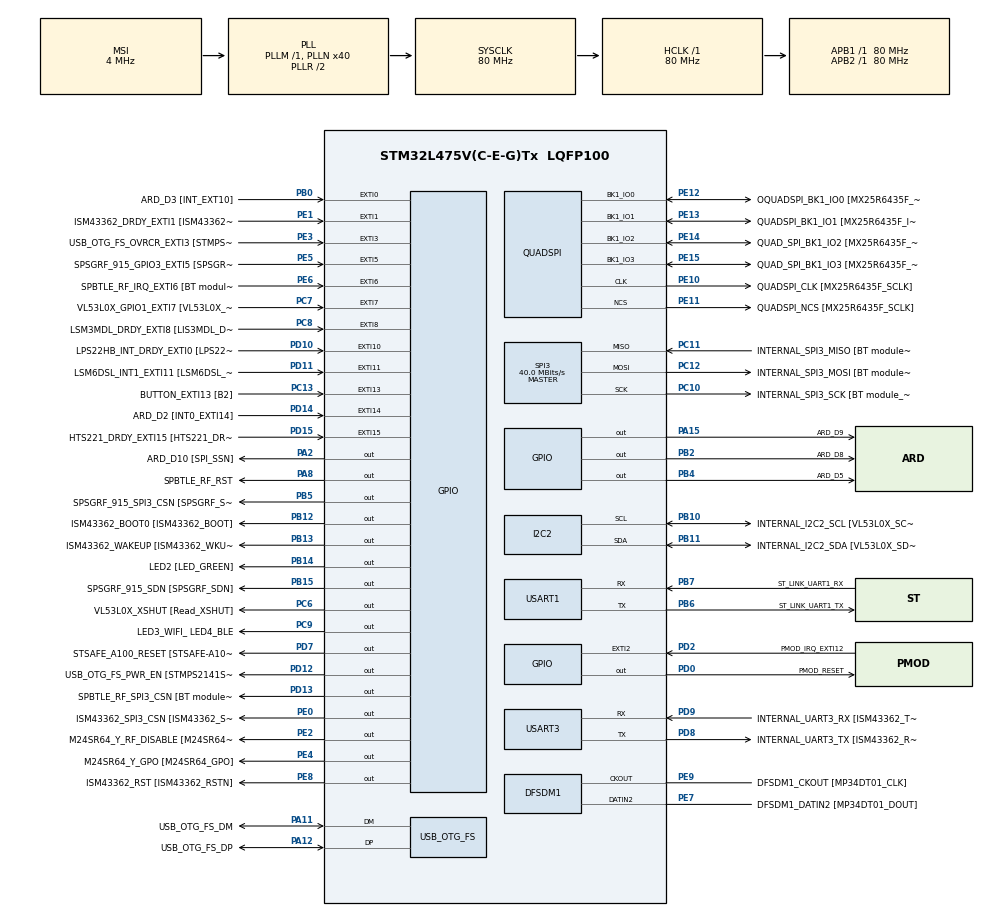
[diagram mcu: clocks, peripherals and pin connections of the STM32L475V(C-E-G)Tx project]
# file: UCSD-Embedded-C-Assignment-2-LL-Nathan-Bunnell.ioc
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PD12.GPIO_Label=USB_OTG_FS_PWR_EN [STMPS2141STR_EN]
SPI3.Direction=SPI_DIRECTION_2LINES
SPI3.VirtualType=VM_MASTER
QUADSPI.ClockPrescaler=2
PB10.Mode=I2C
PC12.Signal=SPI3_MOSI
PB14.GPIO_Label=LED2 [LED_GREEN]
PC6.GPIO_Label=VL53L0X_XSHUT [Read_XSHUT]
PA6.GPIO_Label=ARD_D12 [SPI1_MISO]
PB6.GPIO_Label=ST_LINK_UART1_TX
PA15\ (JTDI).Signal=GPIO_Output
PC15-OSC32_OUT\ (PC15).Mode=LSE-External-Oscillator
PB13.Signal=GPIO_Output
PD6.GPIO_Label=PMOD_UART2_RX
PE6.GPIO_Label=SPBTLE_RF_IRQ_EXTI6 [BT module_SPI_IRQ]
RCC.SYSCLKSource=RCC_SYSCLKSOURCE_PLLCLK
PC14-OSC32_IN\ (PC14).Mode=LSE-External-Oscillator
SH.ADCx_IN16.0=ADC1_IN16
USART3.VirtualMode-Asynchronous=VM_ASYNC
PA14\ (JTCK-SWCLK).Signal=SYS_JTCK-SWCLK
PD4.Signal=USART2_RTS
RCC.APB2TimFreq_Value=80000000
PB6.Signal=USART1_TX
PC7.Signal=GPXTI7
PB6.Mode=Asynchronous
PC3.Signal=ADCx_IN4
PD0.Signal=GPIO_Output
PD8.Signal=USART3_TX
PE5.Signal=GPXTI5
PE1.Signal=GPXTI1
QUADSPI.FlashSize=23
NVIC.EXTI15_10_IRQn=true\:0\:0\:false\:false\:true\:true\:true
PB2.Signal=GPIO_Output
PD1.GPIO_Label=PMOD_SPI2_SCK
PB12.GPIO_Label=ISM43362_BOOT0 [ISM43362_BOOT]
PC4.GPIO_Label=ARD_A1 [ADC]
PE9.Signal=S_CKOUTDFSDM1
PB1.GPIO_Label=ARD_D6 [ADC1_IN6]
PE4.GPIO_Label=M24SR64_Y_GPO [M24SR64_GPO]
PE2.Signal=GPIO_Output
PA8.Signal=GPIO_Output
PE13.Mode=Single Bank
PE10.Signal=QUADSPI_CLK
PA0.Signal=UART4_TX
Mcu.Package=LQFP100
PB9.Signal=I2C1_SDA
PB1.Signal=ADCx_IN16
SPI3.Mode=SPI_MODE_MASTER
SH.ADCx_IN14.0=ADC1_IN14
PD12.Signal=GPIO_Output
PA10.Signal=USB_OTG_FS_ID
PE12.GPIO_Label=OQUADSPI_BK1_IO0 [MX25R6435F_IO0]
PC11.Mode=Full_Duplex_Master
SH.ADCx_IN9.0=ADC1_IN9
RCC.APB1TimFreq_Value=80000000
PA13\ (JTMS-SWDIO).Signal=SYS_JTMS-SWDIO
PE10.GPIO_Label=QUADSPI_CLK [MX25R6435F_SCLK]
PA4.GPIO_Label=ARD_D7
PD15.Signal=GPXTI15
PE12.Mode=Single Bank
PD9.GPIO_Label=INTERNAL_UART3_RX [ISM43362_TX]
PA9.GPIO_Label=USB_OTG_FS_VBUS [STMPS2141STR_OUT]
PC13.Signal=GPXTI13
PD3.Signal=USART2_CTS
PC6.Signal=GPIO_Output
PE10.Mode=Single Bank
PC2.Signal=ADCx_IN3
PB11.GPIO_Label=INTERNAL_I2C2_SDA [VL53L0X_SDA]
PD7.Signal=GPIO_Output
PD1.Signal=SPI2_SCK
PA11.GPIO_Label=USB_OTG_FS_DM
PC0.Signal=ADCx_IN1
PD10.Signal=GPXTI10
PB8.GPIO_Label=ARD_D15 [I2C1_SCL]
PA8.GPIO_Label=SPBTLE_RF_RST
PB11.Mode=I2C
PE8.GPIO_Label=ISM43362_RST [ISM43362_RSTN]
PA9.Signal=USB_OTG_FS_VBUS
PE9.GPIO_Label=DFSDM1_CKOUT [MP34DT01_CLK]
PD8.Mode=Asynchronous
PB10.Signal=I2C2_SCL
PB14.Signal=GPIO_Output
PA5.Signal=SPI1_SCK
PC12.Mode=Full_Duplex_Master
PE1.GPIO_Label=ISM43362_DRDY_EXTI1 [ISM43362_DATARDY]
PE14.Signal=QUADSPI_BK1_IO2
PE15.Signal=QUADSPI_BK1_IO3
PB15.GPIO_Label=SPSGRF_915_SDN [SPSGRF_SDN]
PE8.Signal=GPIO_Output
PA1.GPIO_Label=ARD_D0 [UART4_RX]
SH.ADCx_IN4.0=ADC1_IN4
QUADSPI.FifoThreshold=4
PC7.GPIO_Label=VL53L0X_GPIO1_EXTI7 [VL53L0X_GPIO1]
PA13\ (JTMS-SWDIO).Mode=Serial_Wire
PA4.Signal=ADCx_IN9
PB5.Signal=GPIO_Output
PE13.GPIO_Label=QUADSPI_BK1_IO1 [MX25R6435F_IO1]
PA5.GPIO_Label=ARD_D13 [SPI1_SCK]
PD11.Signal=GPXTI11
PE5.GPIO_Label=SPSGRF_915_GPIO3_EXTI5 [SPSGRF_GPIO_3]
PC12.GPIO_Label=INTERNAL_SPI3_MOSI [BT module_SPI_MOSI] [ISM43362_MOSI]
PA11.Signal=USB_OTG_FS_DM
ProjectManager.HeapSize=0x200
NVIC.PriorityGroup=NVIC_PRIORITYGROUP_4
PE3.Signal=GPXTI3
PC3.GPIO_Label=ARD_A2 [ADC]
PB4\ (NJTRST).GPIO_Label=ARD_D5
PD2.Signal=GPXTI2
PB0.Signal=GPXTI0
PC1.Signal=ADCx_IN2
PD2.GPIO_Label=PMOD_IRQ_EXTI12
PE15.Mode=Single Bank
Mcu.Family=STM32L4
RCC.CortexFreq_Value=80000000
PE11.GPIO_Label=QUADSPI_NCS [MX25R6435F_SCLK]
SH.ADCx_IN2.0=ADC1_IN2
PC10.Signal=SPI3_SCK
I2C2.Timing=0x10909CEC
PA0.GPIO_Label=ARD_D1 [UART4_TX]
PC0.GPIO_Label=ARD_A5 [ADC]
PD0.GPIO_Label=PMOD_RESET
PA11.Mode=Device_Only
PB0.GPIO_Label=ARD_D3 [INT_EXT10]
PC13.GPIO_Label=BUTTON_EXTI13 [B2]
PB13.GPIO_Label=ISM43362_WAKEUP [ISM43362_WKUP]
PB11.Signal=I2C2_SDA
PB15.Signal=GPIO_Output
PD9.Mode=Asynchronous
ProjectManager.StackSize=0x400
PB3\ (JTDO-TRACESWO).Signal=SYS_JTDO-SWO
PD13.Signal=GPIO_Output
PA12.Signal=USB_OTG_FS_DP
PE11.Mode=Single Bank
PD11.GPIO_Label=LSM6DSL_INT1_EXTI11 [LSM6DSL_INT1]
RCC.HCLKFreq_Value=80000000
SH.ADCx_IN3.0=ADC1_IN3
PB5.PinState=GPIO_PIN_SET
RCC.AHBFreq_Value=80000000
RCC.HSE_VALUE=8000000
PE13.Signal=QUADSPI_BK1_IO1
PC11.GPIO_Label=INTERNAL_SPI3_MISO [BT module_SPI_MISO] [ISM43362_MISO]
PA10.GPIO_Label=USB_OTG_FS_ID
PB7.Signal=USART1_RX
PE4.Signal=GPIO_Output
QUADSPI.SampleShifting=QSPI_SAMPLE_SHIFTING_HALFCYCLE
PD7.GPIO_Label=STSAFE_A100_RESET [STSAFE-A100_RESET]
PB7.GPIO_Label=ST_LINK_UART1_RX
PD13.GPIO_Label=SPBTLE_RF_SPI3_CSN [BT module_SPI_CS]
PA6.Signal=SPI1_MISO
PD5.GPIO_Label=PMOD_UART2_TX
PA2.GPIO_Label=ARD_D10 [SPI_SSN]
USB_OTG_FS.VirtualMode=Device_Only
PE0.GPIO_Label=ISM43362_SPI3_CSN [ISM43362_SSN]
SH.ADCx_IN1.0=ADC1_IN1
PB5.GPIO_Label=SPSGRF_915_SPI3_CSN [SPSGRF_SPI_CS]
PC5.Signal=ADCx_IN14
PD3.GPIO_Label=PMOD_UART2_CTS
PE7.Signal=S_DATAIN2DFSDM1
PD6.Signal=USART2_RX
PE2.GPIO_Label=M24SR64_Y_RF_DISABLE [M24SR64_RFDIS]
PC2.GPIO_Label=ARD_A3 [ADC]
RCC.PLLSAI1N=24
PA3.Signal=S_TIM2_CH4
RCC.MSI_VALUE=4000000
PA14\ (JTCK-SWCLK).Mode=Serial_Wire
SH.ADCx_IN13.0=ADC1_IN13
PD15.GPIO_Label=HTS221_DRDY_EXTI15 [HTS221_DRDY]
PB9.GPIO_Label=ARD_D14 [I2C1_SDA]
PC10.GPIO_Label=INTERNAL_SPI3_SCK [BT module_SPI_SCLK] [ISM43362_SCK]
PC9.GPIO_Label=LED3_WIFI_ LED4_BLE
PC11.Signal=SPI3_MISO
PC8.Signal=GPXTI8
PC4.Signal=ADCx_IN13
PC10.Mode=Full_Duplex_Master
SH.S_DATAIN2DFSDM1.0=DFSDM1_DATIN2,PDM_SPI_Input_from_ch12_and_Internal_Clock
PE14.GPIO_Label=QUAD_SPI_BK1_IO2 [MX25R6435F_IO2]
PC15-OSC32_OUT\ (PC15).Signal=RCC_OSC32_OUT
PD9.Signal=USART3_RX
PD5.Signal=USART2_TX
PA14\ (JTCK-SWCLK).GPIO_Label=SYS_JTCK_SWCLK
PB3\ (JTDO-TRACESWO).GPIO_Label=SYS_JTD0_SWO
PA12.GPIO_Label=USB_OTG_FS_DP
PD8.GPIO_Label=INTERNAL_UART3_TX [ISM43362_RX]
PC8.GPIO_Label=LSM3MDL_DRDY_EXTI8 [LIS3MDL_DRDY]
USART1.VirtualMode-Asynchronous=VM_ASYNC
PE0.PinState=GPIO_PIN_SET
PE15.GPIO_Label=QUAD_SPI_BK1_IO3 [MX25R6435F_IO3]
ProjectManager.TargetToolchain=STM32CubeIDE
PB10.GPIO_Label=INTERNAL_I2C2_SCL [VL53L0X_SCL]
RCC.USBFreq_Value=48000000
PD10.GPIO_Label=LPS22HB_INT_DRDY_EXTI0 [LPS22HB_INT_DRDY] 
PE11.Signal=QUADSPI_NCS
PA1.Signal=UART4_RX
board=B-L475E-IOT01A1
RCC.VCOOutputFreq_Value=160000000
RCC.APB2Freq_Value=80000000
SPI3.CalculateBaudRate=40.0 MBits/s
PA13\ (JTMS-SWDIO).GPIO_Label=SYS_JTMS_SWDIO
PD4.GPIO_Label=PMOD_UART2_RTS
PE14.Mode=Single Bank
SH.S_CKOUTDFSDM1.0=DFSDM1_CKOUT,CKOUT
SH.S_CKOUTDFSDM1.1=DFSDM1_CKOUT,PDM_SPI_Input_from_ch12_and_Internal_Clock
RCC.ADCFreq_Value=48000000
PC1.GPIO_Label=ARD_A4 [ADC]
PD14.GPIO_Label=ARD_D2 [INT0_EXTI14]
PE6.Signal=GPXTI6
PA15\ (JTDI).GPIO_Label=ARD_D9
Mcu.Name=STM32L475V(C-E-G)Tx
PE0.Signal=GPIO_Output
PE7.GPIO_Label=DFSDM1_DATIN2 [MP34DT01_DOUT]
PE12.Signal=QUADSPI_BK1_IO0
PA2.Signal=GPIO_Output
PD14.Signal=GPXTI14
RCC.SYSCLKFreq_VALUE=80000000
PA7.GPIO_Label=ARD_D11 [SPI1_MOSI]
PA12.Mode=Device_Only
PC13.GPIO_ModeDefaultEXTI=GPIO_MODE_IT_FALLING
PC5.GPIO_Label=ARD_A0 [ADC]
PC14-OSC32_IN\ (PC14).Signal=RCC_OSC32_IN
PB7.Mode=Asynchronous
NVIC.EXTI9_5_IRQn=true\:0\:0\:false\:false\:true\:true\:true
PB2.GPIO_Label=ARD_D8
SH.S_TIM2_CH4.0=TIM2_CH4
RCC.HSI_VALUE=16000000
RCC.PLLN=40
PB8.Signal=I2C1_SCL
PE3.GPIO_Label=USB_OTG_FS_OVRCR_EXTI3 [STMPS2141STR_FAULT]
PC9.Signal=GPIO_Output
PD13.PinState=GPIO_PIN_SET
RCC.APB1Freq_Value=80000000
PB12.Signal=GPIO_Output
PA3.GPIO_Label=ARD_D4
PA7.Signal=SPI1_MOSI
PB4\ (NJTRST).Signal=GPIO_Output

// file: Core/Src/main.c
/* USER CODE BEGIN Header */
/**
  ******************************************************************************
  * @file           : main.c
  * @brief          : Main program body
  ******************************************************************************
  * @attention
  *
  * <h2><center>&copy; Copyright (c) 2021 STMicroelectronics.
  * All rights reserved.</center></h2>
  *
  * This software component is licensed by ST under BSD 3-Clause license,
  * the "License"; You may not use this file except in compliance with the
  * License. You may obtain a copy of the License at:
  *                        opensource.org/licenses/BSD-3-Clause
  *
  ******************************************************************************
  */
/* USER CODE END Header */
#include "main.h"

/* USER CODE BEGIN Includes */
#include <stdio.h>

/* USER CODE END Includes */

DFSDM_Channel_HandleTypeDef hdfsdm1_channel1;

I2C_HandleTypeDef hi2c2;

QSPI_HandleTypeDef hqspi;

SPI_HandleTypeDef hspi3;

PCD_HandleTypeDef hpcd_USB_OTG_FS;

void SystemClock_Config(void);
static void MX_GPIO_Init(void);
static void MX_DFSDM1_Init(void);
static void MX_I2C2_Init(void);
static void MX_QUADSPI_Init(void);
static void MX_SPI3_Init(void);
static void MX_USART1_UART_Init(void);
static void MX_USART3_UART_Init(void);
static void MX_USB_OTG_FS_PCD_Init(void);
/* USER CODE BEGIN PFP */

// Override the 'write' clib method to implement 'printf' over UART.
int _write( int handle, uint8_t* data, uint32_t size );

/* USER CODE END PFP */

int main(void)
{

  /* MCU Configuration--------------------------------------------------------*/

  /* Reset of all peripherals, Initializes the Flash interface and the Systick. */
  HAL_Init();

  /* Configure the system clock */
  SystemClock_Config();

  /* Initialize all configured peripherals */
  MX_GPIO_Init();
  MX_DFSDM1_Init();
  MX_I2C2_Init();
  MX_QUADSPI_Init();
  MX_SPI3_Init();
  MX_USART1_UART_Init();
  MX_USART3_UART_Init();
  MX_USB_OTG_FS_PCD_Init();
  /* USER CODE BEGIN 2 */

  /*
   * Leverage LL APIs to pull the internal flash size and get the chip's UID value
   * as a 96-byte data block
   */

  uint32_t flashSize = LL_GetFlashSize();

  uint32_t uidWord[3];
  uidWord[0] = LL_GetUID_Word0();
  uidWord[1] = LL_GetUID_Word1();
  uidWord[2] = LL_GetUID_Word2();

  /*
   * TO-DO:
   * Implement a printf() for the above flash and UID data on startup
   * as practice w/ LL_USART
   */

  // Use a char* to push data from the uint32_t variables into the serial buffer
  // byte-by-byte
  uint8_t* dataPtr = (uint8_t *) &flashSize;

  for (uint8_t i = 0; i < (sizeof(uint32_t)/sizeof(uint8_t)); i++)
  {
	  LL_USART_TransmitData8(USART1, *(dataPtr++));
  }

  dataPtr = (uint8_t *) &uidWord;

  for (int i = 0; i < ((3 * sizeof(uint32_t))/sizeof(uint8_t)); ++i)
	{
	  LL_USART_TransmitData8(USART1, *(dataPtr++));
	}

  /* USER CODE END 2 */

  /* Infinite loop */
  while (1)
  {

    /* USER CODE BEGIN 3 */

	  /*
	  * Within loop, poll for status of Blue Button, GPIOC.13 (active low).
	  * If pin is clear, set LED2, GPIOB.14 (active high)
	  * If pin is set, clear LED2
	  */

	  if(LL_GPIO_IsInputPinSet(GPIOC, LL_GPIO_PIN_13))
	  {
	    LL_GPIO_ResetOutputPin(GPIOB, LL_GPIO_PIN_14);
	  }
	  else
	  {
	    LL_GPIO_SetOutputPin(GPIOB, LL_GPIO_PIN_14);
	  }
  }
  /* USER CODE END 3 */
}

void SystemClock_Config(void)
{
  RCC_OscInitTypeDef RCC_OscInitStruct = {0};
  RCC_ClkInitTypeDef RCC_ClkInitStruct = {0};
  RCC_PeriphCLKInitTypeDef PeriphClkInit = {0};

  /** Configure LSE Drive Capability
  */
  HAL_PWR_EnableBkUpAccess();
  __HAL_RCC_LSEDRIVE_CONFIG(RCC_LSEDRIVE_LOW);
  /** Initializes the RCC Oscillators according to the specified parameters
  * in the RCC_OscInitTypeDef structure.
  */
  RCC_OscInitStruct.OscillatorType = RCC_OSCILLATORTYPE_LSE|RCC_OSCILLATORTYPE_MSI;
  RCC_OscInitStruct.LSEState = RCC_LSE_ON;
  RCC_OscInitStruct.MSIState = RCC_MSI_ON;
  RCC_OscInitStruct.MSICalibrationValue = 0;
  RCC_OscInitStruct.MSIClockRange = RCC_MSIRANGE_6;
  RCC_OscInitStruct.PLL.PLLState = RCC_PLL_ON;
  RCC_OscInitStruct.PLL.PLLSource = RCC_PLLSOURCE_MSI;
  RCC_OscInitStruct.PLL.PLLM = 1;
  RCC_OscInitStruct.PLL.PLLN = 40;
  RCC_OscInitStruct.PLL.PLLP = RCC_PLLP_DIV7;
  RCC_OscInitStruct.PLL.PLLQ = RCC_PLLQ_DIV2;
  RCC_OscInitStruct.PLL.PLLR = RCC_PLLR_DIV2;
  if (HAL_RCC_OscConfig(&RCC_OscInitStruct) != HAL_OK)
  {
    Error_Handler();
  }
  /** Initializes the CPU, AHB and APB buses clocks
  */
  RCC_ClkInitStruct.ClockType = RCC_CLOCKTYPE_HCLK|RCC_CLOCKTYPE_SYSCLK
                              |RCC_CLOCKTYPE_PCLK1|RCC_CLOCKTYPE_PCLK2;
  RCC_ClkInitStruct.SYSCLKSource = RCC_SYSCLKSOURCE_PLLCLK;
  RCC_ClkInitStruct.AHBCLKDivider = RCC_SYSCLK_DIV1;
  RCC_ClkInitStruct.APB1CLKDivider = RCC_HCLK_DIV1;
  RCC_ClkInitStruct.APB2CLKDivider = RCC_HCLK_DIV1;

  if (HAL_RCC_ClockConfig(&RCC_ClkInitStruct, FLASH_LATENCY_4) != HAL_OK)
  {
    Error_Handler();
  }
  PeriphClkInit.PeriphClockSelection = RCC_PERIPHCLK_USART1|RCC_PERIPHCLK_USART3
                              |RCC_PERIPHCLK_I2C2|RCC_PERIPHCLK_DFSDM1
                              |RCC_PERIPHCLK_USB;
  PeriphClkInit.Usart1ClockSelection = RCC_USART1CLKSOURCE_PCLK2;
  PeriphClkInit.Usart3ClockSelection = RCC_USART3CLKSOURCE_PCLK1;
  PeriphClkInit.I2c2ClockSelection = RCC_I2C2CLKSOURCE_PCLK1;
  PeriphClkInit.Dfsdm1ClockSelection = RCC_DFSDM1CLKSOURCE_PCLK;
  PeriphClkInit.UsbClockSelection = RCC_USBCLKSOURCE_PLLSAI1;
  PeriphClkInit.PLLSAI1.PLLSAI1Source = RCC_PLLSOURCE_MSI;
  PeriphClkInit.PLLSAI1.PLLSAI1M = 1;
  PeriphClkInit.PLLSAI1.PLLSAI1N = 24;
  PeriphClkInit.PLLSAI1.PLLSAI1P = RCC_PLLP_DIV7;
  PeriphClkInit.PLLSAI1.PLLSAI1Q = RCC_PLLQ_DIV2;
  PeriphClkInit.PLLSAI1.PLLSAI1R = RCC_PLLR_DIV2;
  PeriphClkInit.PLLSAI1.PLLSAI1ClockOut = RCC_PLLSAI1_48M2CLK;
  if (HAL_RCCEx_PeriphCLKConfig(&PeriphClkInit) != HAL_OK)
  {
    Error_Handler();
  }
  /** Configure the main internal regulator output voltage
  */
  if (HAL_PWREx_ControlVoltageScaling(PWR_REGULATOR_VOLTAGE_SCALE1) != HAL_OK)
  {
    Error_Handler();
  }
  /** Enable MSI Auto calibration
  */
  HAL_RCCEx_EnableMSIPLLMode();
}

static void MX_DFSDM1_Init(void)
{

  hdfsdm1_channel1.Instance = DFSDM1_Channel1;
  hdfsdm1_channel1.Init.OutputClock.Activation = ENABLE;
  hdfsdm1_channel1.Init.OutputClock.Selection = DFSDM_CHANNEL_OUTPUT_CLOCK_SYSTEM;
  hdfsdm1_channel1.Init.OutputClock.Divider = 2;
  hdfsdm1_channel1.Init.Input.Multiplexer = DFSDM_CHANNEL_EXTERNAL_INPUTS;
  hdfsdm1_channel1.Init.Input.DataPacking = DFSDM_CHANNEL_STANDARD_MODE;
  hdfsdm1_channel1.Init.Input.Pins = DFSDM_CHANNEL_FOLLOWING_CHANNEL_PINS;
  hdfsdm1_channel1.Init.SerialInterface.Type = DFSDM_CHANNEL_SPI_RISING;
  hdfsdm1_channel1.Init.SerialInterface.SpiClock = DFSDM_CHANNEL_SPI_CLOCK_INTERNAL;
  hdfsdm1_channel1.Init.Awd.FilterOrder = DFSDM_CHANNEL_FASTSINC_ORDER;
  hdfsdm1_channel1.Init.Awd.Oversampling = 1;
  hdfsdm1_channel1.Init.Offset = 0;
  hdfsdm1_channel1.Init.RightBitShift = 0x00;
  if (HAL_DFSDM_ChannelInit(&hdfsdm1_channel1) != HAL_OK)
  {
    Error_Handler();
  }

}

static void MX_I2C2_Init(void)
{

  hi2c2.Instance = I2C2;
  hi2c2.Init.Timing = 0x10909CEC;
  hi2c2.Init.OwnAddress1 = 0;
  hi2c2.Init.AddressingMode = I2C_ADDRESSINGMODE_7BIT;
  hi2c2.Init.DualAddressMode = I2C_DUALADDRESS_DISABLE;
  hi2c2.Init.OwnAddress2 = 0;
  hi2c2.Init.OwnAddress2Masks = I2C_OA2_NOMASK;
  hi2c2.Init.GeneralCallMode = I2C_GENERALCALL_DISABLE;
  hi2c2.Init.NoStretchMode = I2C_NOSTRETCH_DISABLE;
  if (HAL_I2C_Init(&hi2c2) != HAL_OK)
  {
    Error_Handler();
  }
  /** Configure Analogue filter
  */
  if (HAL_I2CEx_ConfigAnalogFilter(&hi2c2, I2C_ANALOGFILTER_ENABLE) != HAL_OK)
  {
    Error_Handler();
  }
  /** Configure Digital filter
  */
  if (HAL_I2CEx_ConfigDigitalFilter(&hi2c2, 0) != HAL_OK)
  {
    Error_Handler();
  }

}

static void MX_QUADSPI_Init(void)
{

  /* QUADSPI parameter configuration*/
  hqspi.Instance = QUADSPI;
  hqspi.Init.ClockPrescaler = 2;
  hqspi.Init.FifoThreshold = 4;
  hqspi.Init.SampleShifting = QSPI_SAMPLE_SHIFTING_HALFCYCLE;
  hqspi.Init.FlashSize = 23;
  hqspi.Init.ChipSelectHighTime = QSPI_CS_HIGH_TIME_1_CYCLE;
  hqspi.Init.ClockMode = QSPI_CLOCK_MODE_0;
  if (HAL_QSPI_Init(&hqspi) != HAL_OK)
  {
    Error_Handler();
  }

}

static void MX_SPI3_Init(void)
{

  /* SPI3 parameter configuration*/
  hspi3.Instance = SPI3;
  hspi3.Init.Mode = SPI_MODE_MASTER;
  hspi3.Init.Direction = SPI_DIRECTION_2LINES;
  hspi3.Init.DataSize = SPI_DATASIZE_4BIT;
  hspi3.Init.CLKPolarity = SPI_POLARITY_LOW;
  hspi3.Init.CLKPhase = SPI_PHASE_1EDGE;
  hspi3.Init.NSS = SPI_NSS_SOFT;
  hspi3.Init.BaudRatePrescaler = SPI_BAUDRATEPRESCALER_2;
  hspi3.Init.FirstBit = SPI_FIRSTBIT_MSB;
  hspi3.Init.TIMode = SPI_TIMODE_DISABLE;
  hspi3.Init.CRCCalculation = SPI_CRCCALCULATION_DISABLE;
  hspi3.Init.CRCPolynomial = 7;
  hspi3.Init.CRCLength = SPI_CRC_LENGTH_DATASIZE;
  hspi3.Init.NSSPMode = SPI_NSS_PULSE_ENABLE;
  if (HAL_SPI_Init(&hspi3) != HAL_OK)
  {
    Error_Handler();
  }

}

static void MX_USART1_UART_Init(void)
{

  LL_USART_InitTypeDef USART_InitStruct = {0};

  LL_GPIO_InitTypeDef GPIO_InitStruct = {0};

  /* Peripheral clock enable */
  LL_APB2_GRP1_EnableClock(LL_APB2_GRP1_PERIPH_USART1);

  LL_AHB2_GRP1_EnableClock(LL_AHB2_GRP1_PERIPH_GPIOB);
  /**USART1 GPIO Configuration
  PB6   ------> USART1_TX
  PB7   ------> USART1_RX
  */
  GPIO_InitStruct.Pin = ST_LINK_UART1_TX_Pin|ST_LINK_UART1_RX_Pin;
  GPIO_InitStruct.Mode = LL_GPIO_MODE_ALTERNATE;
  GPIO_InitStruct.Speed = LL_GPIO_SPEED_FREQ_VERY_HIGH;
  GPIO_InitStruct.OutputType = LL_GPIO_OUTPUT_PUSHPULL;
  GPIO_InitStruct.Pull = LL_GPIO_PULL_NO;
  GPIO_InitStruct.Alternate = LL_GPIO_AF_7;
  LL_GPIO_Init(GPIOB, &GPIO_InitStruct);

  USART_InitStruct.BaudRate = 115200;
  USART_InitStruct.DataWidth = LL_USART_DATAWIDTH_8B;
  USART_InitStruct.StopBits = LL_USART_STOPBITS_1;
  USART_InitStruct.Parity = LL_USART_PARITY_NONE;
  USART_InitStruct.TransferDirection = LL_USART_DIRECTION_TX_RX;
  USART_InitStruct.HardwareFlowControl = LL_USART_HWCONTROL_NONE;
  USART_InitStruct.OverSampling = LL_USART_OVERSAMPLING_16;
  LL_USART_Init(USART1, &USART_InitStruct);
  LL_USART_ConfigAsyncMode(USART1);
  LL_USART_Enable(USART1);

}

static void MX_USART3_UART_Init(void)
{

  LL_USART_InitTypeDef USART_InitStruct = {0};

  LL_GPIO_InitTypeDef GPIO_InitStruct = {0};

  /* Peripheral clock enable */
  LL_APB1_GRP1_EnableClock(LL_APB1_GRP1_PERIPH_USART3);

  LL_AHB2_GRP1_EnableClock(LL_AHB2_GRP1_PERIPH_GPIOD);
  /**USART3 GPIO Configuration
  PD8   ------> USART3_TX
  PD9   ------> USART3_RX
  */
  GPIO_InitStruct.Pin = INTERNAL_UART3_TX_Pin|INTERNAL_UART3_RX_Pin;
  GPIO_InitStruct.Mode = LL_GPIO_MODE_ALTERNATE;
  GPIO_InitStruct.Speed = LL_GPIO_SPEED_FREQ_VERY_HIGH;
  GPIO_InitStruct.OutputType = LL_GPIO_OUTPUT_PUSHPULL;
  GPIO_InitStruct.Pull = LL_GPIO_PULL_NO;
  GPIO_InitStruct.Alternate = LL_GPIO_AF_7;
  LL_GPIO_Init(GPIOD, &GPIO_InitStruct);

  USART_InitStruct.BaudRate = 115200;
  USART_InitStruct.DataWidth = LL_USART_DATAWIDTH_8B;
  USART_InitStruct.StopBits = LL_USART_STOPBITS_1;
  USART_InitStruct.Parity = LL_USART_PARITY_NONE;
  USART_InitStruct.TransferDirection = LL_USART_DIRECTION_TX_RX;
  USART_InitStruct.HardwareFlowControl = LL_USART_HWCONTROL_NONE;
  USART_InitStruct.OverSampling = LL_USART_OVERSAMPLING_16;
  LL_USART_Init(USART3, &USART_InitStruct);
  LL_USART_ConfigAsyncMode(USART3);
  LL_USART_Enable(USART3);

}

static void MX_USB_OTG_FS_PCD_Init(void)
{

  hpcd_USB_OTG_FS.Instance = USB_OTG_FS;
  hpcd_USB_OTG_FS.Init.dev_endpoints = 6;
  hpcd_USB_OTG_FS.Init.speed = PCD_SPEED_FULL;
  hpcd_USB_OTG_FS.Init.phy_itface = PCD_PHY_EMBEDDED;
  hpcd_USB_OTG_FS.Init.Sof_enable = DISABLE;
  hpcd_USB_OTG_FS.Init.low_power_enable = DISABLE;
  hpcd_USB_OTG_FS.Init.lpm_enable = DISABLE;
  hpcd_USB_OTG_FS.Init.battery_charging_enable = DISABLE;
  hpcd_USB_OTG_FS.Init.use_dedicated_ep1 = DISABLE;
  hpcd_USB_OTG_FS.Init.vbus_sensing_enable = DISABLE;
  if (HAL_PCD_Init(&hpcd_USB_OTG_FS) != HAL_OK)
  {
    Error_Handler();
  }

}

static void MX_GPIO_Init(void)
{
  LL_EXTI_InitTypeDef EXTI_InitStruct = {0};
  LL_GPIO_InitTypeDef GPIO_InitStruct = {0};

  /* GPIO Ports Clock Enable */
  LL_AHB2_GRP1_EnableClock(LL_AHB2_GRP1_PERIPH_GPIOE);
  LL_AHB2_GRP1_EnableClock(LL_AHB2_GRP1_PERIPH_GPIOC);
  LL_AHB2_GRP1_EnableClock(LL_AHB2_GRP1_PERIPH_GPIOA);
  LL_AHB2_GRP1_EnableClock(LL_AHB2_GRP1_PERIPH_GPIOB);
  LL_AHB2_GRP1_EnableClock(LL_AHB2_GRP1_PERIPH_GPIOD);

  /**/
  LL_GPIO_ResetOutputPin(GPIOE, M24SR64_Y_RF_DISABLE_Pin|M24SR64_Y_GPO_Pin|ISM43362_RST_Pin);

  /**/
  LL_GPIO_ResetOutputPin(GPIOA, ARD_D10_Pin|SPBTLE_RF_RST_Pin|ARD_D9_Pin);

  /**/
  LL_GPIO_ResetOutputPin(GPIOB, ARD_D8_Pin|ISM43362_BOOT0_Pin|ISM43362_WAKEUP_Pin|LED2_Pin
                          |SPSGRF_915_SDN_Pin|ARD_D5_Pin);

  /**/
  LL_GPIO_ResetOutputPin(GPIOD, USB_OTG_FS_PWR_EN_Pin|PMOD_RESET_Pin|STSAFE_A100_RESET_Pin);

  /**/
  LL_GPIO_ResetOutputPin(GPIOC, VL53L0X_XSHUT_Pin|LED3_WIFI__LED4_BLE_Pin);

  /**/
  LL_GPIO_SetOutputPin(SPBTLE_RF_SPI3_CSN_GPIO_Port, SPBTLE_RF_SPI3_CSN_Pin);

  /**/
  LL_GPIO_SetOutputPin(SPSGRF_915_SPI3_CSN_GPIO_Port, SPSGRF_915_SPI3_CSN_Pin);

  /**/
  LL_GPIO_SetOutputPin(ISM43362_SPI3_CSN_GPIO_Port, ISM43362_SPI3_CSN_Pin);

  /**/
  GPIO_InitStruct.Pin = M24SR64_Y_RF_DISABLE_Pin|M24SR64_Y_GPO_Pin|ISM43362_RST_Pin|ISM43362_SPI3_CSN_Pin;
  GPIO_InitStruct.Mode = LL_GPIO_MODE_OUTPUT;
  GPIO_InitStruct.Speed = LL_GPIO_SPEED_FREQ_LOW;
  GPIO_InitStruct.OutputType = LL_GPIO_OUTPUT_PUSHPULL;
  GPIO_InitStruct.Pull = LL_GPIO_PULL_NO;
  LL_GPIO_Init(GPIOE, &GPIO_InitStruct);

  /**/
  GPIO_InitStruct.Pin = ARD_A5_Pin|ARD_A4_Pin|ARD_A3_Pin|ARD_A2_Pin
                          |ARD_A1_Pin|ARD_A0_Pin;
  GPIO_InitStruct.Mode = LL_GPIO_MODE_ANALOG;
  GPIO_InitStruct.Pull = LL_GPIO_PULL_NO;
  LL_GPIO_Init(GPIOC, &GPIO_InitStruct);

  /**/
  GPIO_InitStruct.Pin = ARD_D1_Pin|ARD_D0_Pin;
  GPIO_InitStruct.Mode = LL_GPIO_MODE_ALTERNATE;
  GPIO_InitStruct.Speed = LL_GPIO_SPEED_FREQ_VERY_HIGH;
  GPIO_InitStruct.OutputType = LL_GPIO_OUTPUT_PUSHPULL;
  GPIO_InitStruct.Pull = LL_GPIO_PULL_NO;
  GPIO_InitStruct.Alternate = LL_GPIO_AF_8;
  LL_GPIO_Init(GPIOA, &GPIO_InitStruct);

  /**/
  GPIO_InitStruct.Pin = ARD_D10_Pin|SPBTLE_RF_RST_Pin|ARD_D9_Pin;
  GPIO_InitStruct.Mode = LL_GPIO_MODE_OUTPUT;
  GPIO_InitStruct.Speed = LL_GPIO_SPEED_FREQ_LOW;
  GPIO_InitStruct.OutputType = LL_GPIO_OUTPUT_PUSHPULL;
  GPIO_InitStruct.Pull = LL_GPIO_PULL_NO;
  LL_GPIO_Init(GPIOA, &GPIO_InitStruct);

  /**/
  GPIO_InitStruct.Pin = ARD_D4_Pin;
  GPIO_InitStruct.Mode = LL_GPIO_MODE_ALTERNATE;
  GPIO_InitStruct.Speed = LL_GPIO_SPEED_FREQ_LOW;
  GPIO_InitStruct.OutputType = LL_GPIO_OUTPUT_PUSHPULL;
  GPIO_InitStruct.Pull = LL_GPIO_PULL_NO;
  GPIO_InitStruct.Alternate = LL_GPIO_AF_1;
  LL_GPIO_Init(ARD_D4_GPIO_Port, &GPIO_InitStruct);

  /**/
  GPIO_InitStruct.Pin = ARD_D7_Pin;
  GPIO_InitStruct.Mode = LL_GPIO_MODE_ANALOG;
  GPIO_InitStruct.Pull = LL_GPIO_PULL_NO;
  LL_GPIO_Init(ARD_D7_GPIO_Port, &GPIO_InitStruct);

  /**/
  GPIO_InitStruct.Pin = ARD_D13_Pin|ARD_D12_Pin|ARD_D11_Pin;
  GPIO_InitStruct.Mode = LL_GPIO_MODE_ALTERNATE;
  GPIO_InitStruct.Speed = LL_GPIO_SPEED_FREQ_VERY_HIGH;
  GPIO_InitStruct.OutputType = LL_GPIO_OUTPUT_PUSHPULL;
  GPIO_InitStruct.Pull = LL_GPIO_PULL_NO;
  GPIO_InitStruct.Alternate = LL_GPIO_AF_5;
  LL_GPIO_Init(GPIOA, &GPIO_InitStruct);

  /**/
  GPIO_InitStruct.Pin = ARD_D6_Pin;
  GPIO_InitStruct.Mode = LL_GPIO_MODE_ANALOG;
  GPIO_InitStruct.Pull = LL_GPIO_PULL_NO;
  LL_GPIO_Init(ARD_D6_GPIO_Port, &GPIO_InitStruct);

  /**/
  GPIO_InitStruct.Pin = ARD_D8_Pin|ISM43362_BOOT0_Pin|ISM43362_WAKEUP_Pin|LED2_Pin
                          |SPSGRF_915_SDN_Pin|ARD_D5_Pin|SPSGRF_915_SPI3_CSN_Pin;
  GPIO_InitStruct.Mode = LL_GPIO_MODE_OUTPUT;
  GPIO_InitStruct.Speed = LL_GPIO_SPEED_FREQ_LOW;
  GPIO_InitStruct.OutputType = LL_GPIO_OUTPUT_PUSHPULL;
  GPIO_InitStruct.Pull = LL_GPIO_PULL_NO;
  LL_GPIO_Init(GPIOB, &GPIO_InitStruct);

  /**/
  GPIO_InitStruct.Pin = USB_OTG_FS_PWR_EN_Pin|SPBTLE_RF_SPI3_CSN_Pin|PMOD_RESET_Pin|STSAFE_A100_RESET_Pin;
  GPIO_InitStruct.Mode = LL_GPIO_MODE_OUTPUT;
  GPIO_InitStruct.Speed = LL_GPIO_SPEED_FREQ_LOW;
  GPIO_InitStruct.OutputType = LL_GPIO_OUTPUT_PUSHPULL;
  GPIO_InitStruct.Pull = LL_GPIO_PULL_NO;
  LL_GPIO_Init(GPIOD, &GPIO_InitStruct);

  /**/
  GPIO_InitStruct.Pin = VL53L0X_XSHUT_Pin|LED3_WIFI__LED4_BLE_Pin;
  GPIO_InitStruct.Mode = LL_GPIO_MODE_OUTPUT;
  GPIO_InitStruct.Speed = LL_GPIO_SPEED_FREQ_LOW;
  GPIO_InitStruct.OutputType = LL_GPIO_OUTPUT_PUSHPULL;
  GPIO_InitStruct.Pull = LL_GPIO_PULL_NO;
  LL_GPIO_Init(GPIOC, &GPIO_InitStruct);

  /**/
  GPIO_InitStruct.Pin = PMOD_SPI2_SCK_Pin;
  GPIO_InitStruct.Mode = LL_GPIO_MODE_ALTERNATE;
  GPIO_InitStruct.Speed = LL_GPIO_SPEED_FREQ_VERY_HIGH;
  GPIO_InitStruct.OutputType = LL_GPIO_OUTPUT_PUSHPULL;
  GPIO_InitStruct.Pull = LL_GPIO_PULL_NO;
  GPIO_InitStruct.Alternate = LL_GPIO_AF_5;
  LL_GPIO_Init(PMOD_SPI2_SCK_GPIO_Port, &GPIO_InitStruct);

  /**/
  GPIO_InitStruct.Pin = PMOD_UART2_CTS_Pin|PMOD_UART2_RTS_Pin|PMOD_UART2_TX_Pin|PMOD_UART2_RX_Pin;
  GPIO_InitStruct.Mode = LL_GPIO_MODE_ALTERNATE;
  GPIO_InitStruct.Speed = LL_GPIO_SPEED_FREQ_VERY_HIGH;
  GPIO_InitStruct.OutputType = LL_GPIO_OUTPUT_PUSHPULL;
  GPIO_InitStruct.Pull = LL_GPIO_PULL_NO;
  GPIO_InitStruct.Alternate = LL_GPIO_AF_7;
  LL_GPIO_Init(GPIOD, &GPIO_InitStruct);

  /**/
  GPIO_InitStruct.Pin = ARD_D15_Pin|ARD_D14_Pin;
  GPIO_InitStruct.Mode = LL_GPIO_MODE_ALTERNATE;
  GPIO_InitStruct.Speed = LL_GPIO_SPEED_FREQ_VERY_HIGH;
  GPIO_InitStruct.OutputType = LL_GPIO_OUTPUT_OPENDRAIN;
  GPIO_InitStruct.Pull = LL_GPIO_PULL_UP;
  GPIO_InitStruct.Alternate = LL_GPIO_AF_4;
  LL_GPIO_Init(GPIOB, &GPIO_InitStruct);

  /**/
  LL_SYSCFG_SetEXTISource(LL_SYSCFG_EXTI_PORTE, LL_SYSCFG_EXTI_LINE3);

  /**/
  LL_SYSCFG_SetEXTISource(LL_SYSCFG_EXTI_PORTE, LL_SYSCFG_EXTI_LINE5);

  /**/
  LL_SYSCFG_SetEXTISource(LL_SYSCFG_EXTI_PORTE, LL_SYSCFG_EXTI_LINE6);

  /**/
  LL_SYSCFG_SetEXTISource(LL_SYSCFG_EXTI_PORTC, LL_SYSCFG_EXTI_LINE13);

  /**/
  LL_SYSCFG_SetEXTISource(LL_SYSCFG_EXTI_PORTB, LL_SYSCFG_EXTI_LINE0);

  /**/
  LL_SYSCFG_SetEXTISource(LL_SYSCFG_EXTI_PORTD, LL_SYSCFG_EXTI_LINE10);

  /**/
  LL_SYSCFG_SetEXTISource(LL_SYSCFG_EXTI_PORTD, LL_SYSCFG_EXTI_LINE11);

  /**/
  LL_SYSCFG_SetEXTISource(LL_SYSCFG_EXTI_PORTD, LL_SYSCFG_EXTI_LINE14);

  /**/
  LL_SYSCFG_SetEXTISource(LL_SYSCFG_EXTI_PORTD, LL_SYSCFG_EXTI_LINE15);

  /**/
  LL_SYSCFG_SetEXTISource(LL_SYSCFG_EXTI_PORTC, LL_SYSCFG_EXTI_LINE7);

  /**/
  LL_SYSCFG_SetEXTISource(LL_SYSCFG_EXTI_PORTC, LL_SYSCFG_EXTI_LINE8);

  /**/
  LL_SYSCFG_SetEXTISource(LL_SYSCFG_EXTI_PORTD, LL_SYSCFG_EXTI_LINE2);

  /**/
  LL_SYSCFG_SetEXTISource(LL_SYSCFG_EXTI_PORTE, LL_SYSCFG_EXTI_LINE1);

  /**/
  EXTI_InitStruct.Line_0_31 = LL_EXTI_LINE_3;
  EXTI_InitStruct.Line_32_63 = LL_EXTI_LINE_NONE;
  EXTI_InitStruct.LineCommand = ENABLE;
  EXTI_InitStruct.Mode = LL_EXTI_MODE_IT;
  EXTI_InitStruct.Trigger = LL_EXTI_TRIGGER_RISING;
  LL_EXTI_Init(&EXTI_InitStruct);

  /**/
  EXTI_InitStruct.Line_0_31 = LL_EXTI_LINE_5;
  EXTI_InitStruct.Line_32_63 = LL_EXTI_LINE_NONE;
  EXTI_InitStruct.LineCommand = ENABLE;
  EXTI_InitStruct.Mode = LL_EXTI_MODE_IT;
  EXTI_InitStruct.Trigger = LL_EXTI_TRIGGER_RISING;
  LL_EXTI_Init(&EXTI_InitStruct);

  /**/
  EXTI_InitStruct.Line_0_31 = LL_EXTI_LINE_6;
  EXTI_InitStruct.Line_32_63 = LL_EXTI_LINE_NONE;
  EXTI_InitStruct.LineCommand = ENABLE;
  EXTI_InitStruct.Mode = LL_EXTI_MODE_IT;
  EXTI_InitStruct.Trigger = LL_EXTI_TRIGGER_RISING;
  LL_EXTI_Init(&EXTI_InitStruct);

  /**/
  EXTI_InitStruct.Line_0_31 = LL_EXTI_LINE_13;
  EXTI_InitStruct.Line_32_63 = LL_EXTI_LINE_NONE;
  EXTI_InitStruct.LineCommand = ENABLE;
  EXTI_InitStruct.Mode = LL_EXTI_MODE_IT;
  EXTI_InitStruct.Trigger = LL_EXTI_TRIGGER_FALLING;
  LL_EXTI_Init(&EXTI_InitStruct);

  /**/
  EXTI_InitStruct.Line_0_31 = LL_EXTI_LINE_0;
  EXTI_InitStruct.Line_32_63 = LL_EXTI_LINE_NONE;
  EXTI_InitStruct.LineCommand = ENABLE;
  EXTI_InitStruct.Mode = LL_EXTI_MODE_IT;
  EXTI_InitStruct.Trigger = LL_EXTI_TRIGGER_RISING;
  LL_EXTI_Init(&EXTI_InitStruct);

  /**/
  EXTI_InitStruct.Line_0_31 = LL_EXTI_LINE_10;
  EXTI_InitStruct.Line_32_63 = LL_EXTI_LINE_NONE;
  EXTI_InitStruct.LineCommand = ENABLE;
  EXTI_InitStruct.Mode = LL_EXTI_MODE_IT;
  EXTI_InitStruct.Trigger = LL_EXTI_TRIGGER_RISING;
  LL_EXTI_Init(&EXTI_InitStruct);

  /**/
  EXTI_InitStruct.Line_0_31 = LL_EXTI_LINE_11;
  EXTI_InitStruct.Line_32_63 = LL_EXTI_LINE_NONE;
  EXTI_InitStruct.LineCommand = ENABLE;
  EXTI_InitStruct.Mode = LL_EXTI_MODE_IT;
  EXTI_InitStruct.Trigger = LL_EXTI_TRIGGER_RISING;
  LL_EXTI_Init(&EXTI_InitStruct);

  /**/
  EXTI_InitStruct.Line_0_31 = LL_EXTI_LINE_14;
  EXTI_InitStruct.Line_32_63 = LL_EXTI_LINE_NONE;
  EXTI_InitStruct.LineCommand = ENABLE;
  EXTI_InitStruct.Mode = LL_EXTI_MODE_IT;
  EXTI_InitStruct.Trigger = LL_EXTI_TRIGGER_RISING;
  LL_EXTI_Init(&EXTI_InitStruct);

  /**/
  EXTI_InitStruct.Line_0_31 = LL_EXTI_LINE_15;
  EXTI_InitStruct.Line_32_63 = LL_EXTI_LINE_NONE;
  EXTI_InitStruct.LineCommand = ENABLE;
  EXTI_InitStruct.Mode = LL_EXTI_MODE_IT;
  EXTI_InitStruct.Trigger = LL_EXTI_TRIGGER_RISING;
  LL_EXTI_Init(&EXTI_InitStruct);

  /**/
  EXTI_InitStruct.Line_0_31 = LL_EXTI_LINE_7;
  EXTI_InitStruct.Line_32_63 = LL_EXTI_LINE_NONE;
  EXTI_InitStruct.LineCommand = ENABLE;
  EXTI_InitStruct.Mode = LL_EXTI_MODE_IT;
  EXTI_InitStruct.Trigger = LL_EXTI_TRIGGER_RISING;
  LL_EXTI_Init(&EXTI_InitStruct);

  /**/
  EXTI_InitStruct.Line_0_31 = LL_EXTI_LINE_8;
  EXTI_InitStruct.Line_32_63 = LL_EXTI_LINE_NONE;
  EXTI_InitStruct.LineCommand = ENABLE;
  EXTI_InitStruct.Mode = LL_EXTI_MODE_IT;
  EXTI_InitStruct.Trigger = LL_EXTI_TRIGGER_RISING;
  LL_EXTI_Init(&EXTI_InitStruct);

  /**/
  EXTI_InitStruct.Line_0_31 = LL_EXTI_LINE_2;
  EXTI_InitStruct.Line_32_63 = LL_EXTI_LINE_NONE;
  EXTI_InitStruct.LineCommand = ENABLE;
  EXTI_InitStruct.Mode = LL_EXTI_MODE_IT;
  EXTI_InitStruct.Trigger = LL_EXTI_TRIGGER_RISING;
  LL_EXTI_Init(&EXTI_InitStruct);

  /**/
  EXTI_InitStruct.Line_0_31 = LL_EXTI_LINE_1;
  EXTI_InitStruct.Line_32_63 = LL_EXTI_LINE_NONE;
  EXTI_InitStruct.LineCommand = ENABLE;
  EXTI_InitStruct.Mode = LL_EXTI_MODE_IT;
  EXTI_InitStruct.Trigger = LL_EXTI_TRIGGER_RISING;
  LL_EXTI_Init(&EXTI_InitStruct);

  /**/
  LL_GPIO_SetPinPull(USB_OTG_FS_OVRCR_EXTI3_GPIO_Port, USB_OTG_FS_OVRCR_EXTI3_Pin, LL_GPIO_PULL_NO);

  /**/
  LL_GPIO_SetPinPull(SPSGRF_915_GPIO3_EXTI5_GPIO_Port, SPSGRF_915_GPIO3_EXTI5_Pin, LL_GPIO_PULL_NO);

  /**/
  LL_GPIO_SetPinPull(SPBTLE_RF_IRQ_EXTI6_GPIO_Port, SPBTLE_RF_IRQ_EXTI6_Pin, LL_GPIO_PULL_NO);

  /**/
  LL_GPIO_SetPinPull(BUTTON_EXTI13_GPIO_Port, BUTTON_EXTI13_Pin, LL_GPIO_PULL_NO);

  /**/
  LL_GPIO_SetPinPull(ARD_D3_GPIO_Port, ARD_D3_Pin, LL_GPIO_PULL_NO);

  /**/
  LL_GPIO_SetPinPull(LPS22HB_INT_DRDY_EXTI0_GPIO_Port, LPS22HB_INT_DRDY_EXTI0_Pin, LL_GPIO_PULL_NO);

  /**/
  LL_GPIO_SetPinPull(LSM6DSL_INT1_EXTI11_GPIO_Port, LSM6DSL_INT1_EXTI11_Pin, LL_GPIO_PULL_NO);

  /**/
  LL_GPIO_SetPinPull(ARD_D2_GPIO_Port, ARD_D2_Pin, LL_GPIO_PULL_NO);

  /**/
  LL_GPIO_SetPinPull(HTS221_DRDY_EXTI15_GPIO_Port, HTS221_DRDY_EXTI15_Pin, LL_GPIO_PULL_NO);

  /**/
  LL_GPIO_SetPinPull(VL53L0X_GPIO1_EXTI7_GPIO_Port, VL53L0X_GPIO1_EXTI7_Pin, LL_GPIO_PULL_NO);

  /**/
  LL_GPIO_SetPinPull(LSM3MDL_DRDY_EXTI8_GPIO_Port, LSM3MDL_DRDY_EXTI8_Pin, LL_GPIO_PULL_NO);

  /**/
  LL_GPIO_SetPinPull(PMOD_IRQ_EXTI12_GPIO_Port, PMOD_IRQ_EXTI12_Pin, LL_GPIO_PULL_NO);

  /**/
  LL_GPIO_SetPinPull(ISM43362_DRDY_EXTI1_GPIO_Port, ISM43362_DRDY_EXTI1_Pin, LL_GPIO_PULL_NO);

  /**/
  LL_GPIO_SetPinMode(USB_OTG_FS_OVRCR_EXTI3_GPIO_Port, USB_OTG_FS_OVRCR_EXTI3_Pin, LL_GPIO_MODE_INPUT);

  /**/
  LL_GPIO_SetPinMode(SPSGRF_915_GPIO3_EXTI5_GPIO_Port, SPSGRF_915_GPIO3_EXTI5_Pin, LL_GPIO_MODE_INPUT);

  /**/
  LL_GPIO_SetPinMode(SPBTLE_RF_IRQ_EXTI6_GPIO_Port, SPBTLE_RF_IRQ_EXTI6_Pin, LL_GPIO_MODE_INPUT);

  /**/
  LL_GPIO_SetPinMode(BUTTON_EXTI13_GPIO_Port, BUTTON_EXTI13_Pin, LL_GPIO_MODE_INPUT);

  /**/
  LL_GPIO_SetPinMode(ARD_D3_GPIO_Port, ARD_D3_Pin, LL_GPIO_MODE_INPUT);

  /**/
  LL_GPIO_SetPinMode(LPS22HB_INT_DRDY_EXTI0_GPIO_Port, LPS22HB_INT_DRDY_EXTI0_Pin, LL_GPIO_MODE_INPUT);

  /**/
  LL_GPIO_SetPinMode(LSM6DSL_INT1_EXTI11_GPIO_Port, LSM6DSL_INT1_EXTI11_Pin, LL_GPIO_MODE_INPUT);

  /**/
  LL_GPIO_SetPinMode(ARD_D2_GPIO_Port, ARD_D2_Pin, LL_GPIO_MODE_INPUT);

  /**/
  LL_GPIO_SetPinMode(HTS221_DRDY_EXTI15_GPIO_Port, HTS221_DRDY_EXTI15_Pin, LL_GPIO_MODE_INPUT);

  /**/
  LL_GPIO_SetPinMode(VL53L0X_GPIO1_EXTI7_GPIO_Port, VL53L0X_GPIO1_EXTI7_Pin, LL_GPIO_MODE_INPUT);

  /**/
  LL_GPIO_SetPinMode(LSM3MDL_DRDY_EXTI8_GPIO_Port, LSM3MDL_DRDY_EXTI8_Pin, LL_GPIO_MODE_INPUT);

  /**/
  LL_GPIO_SetPinMode(PMOD_IRQ_EXTI12_GPIO_Port, PMOD_IRQ_EXTI12_Pin, LL_GPIO_MODE_INPUT);

  /**/
  LL_GPIO_SetPinMode(ISM43362_DRDY_EXTI1_GPIO_Port, ISM43362_DRDY_EXTI1_Pin, LL_GPIO_MODE_INPUT);

  /**/
  LL_GPIO_EnablePinAnalogControl(GPIOC, ARD_A5_Pin|ARD_A4_Pin|ARD_A3_Pin|ARD_A2_Pin
                          |ARD_A1_Pin|ARD_A0_Pin);

  /**/
  LL_GPIO_EnablePinAnalogControl(ARD_D7_GPIO_Port, ARD_D7_Pin);

  /**/
  LL_GPIO_EnablePinAnalogControl(ARD_D6_GPIO_Port, ARD_D6_Pin);

  /* EXTI interrupt init*/
  NVIC_SetPriority(EXTI9_5_IRQn, NVIC_EncodePriority(NVIC_GetPriorityGrouping(),0, 0));
  NVIC_EnableIRQ(EXTI9_5_IRQn);
  NVIC_SetPriority(EXTI15_10_IRQn, NVIC_EncodePriority(NVIC_GetPriorityGrouping(),0, 0));
  NVIC_EnableIRQ(EXTI15_10_IRQn);

}

/* USER CODE BEGIN 4 */

int _write( int handle, uint8_t* data, uint32_t size ) {
  int count = size;
  while( count-- ) {
      while( !( USART1->ISR & USART_ISR_TXE ) ) {};
      USART1->TDR = *data++;
  }
  return size;
}

/* USER CODE END 4 */

void Error_Handler(void)
{
  __disable_irq();
  while (1)
  {
  }
}

/************************ (C) COPYRIGHT STMicroelectronics *****END OF FILE****/
